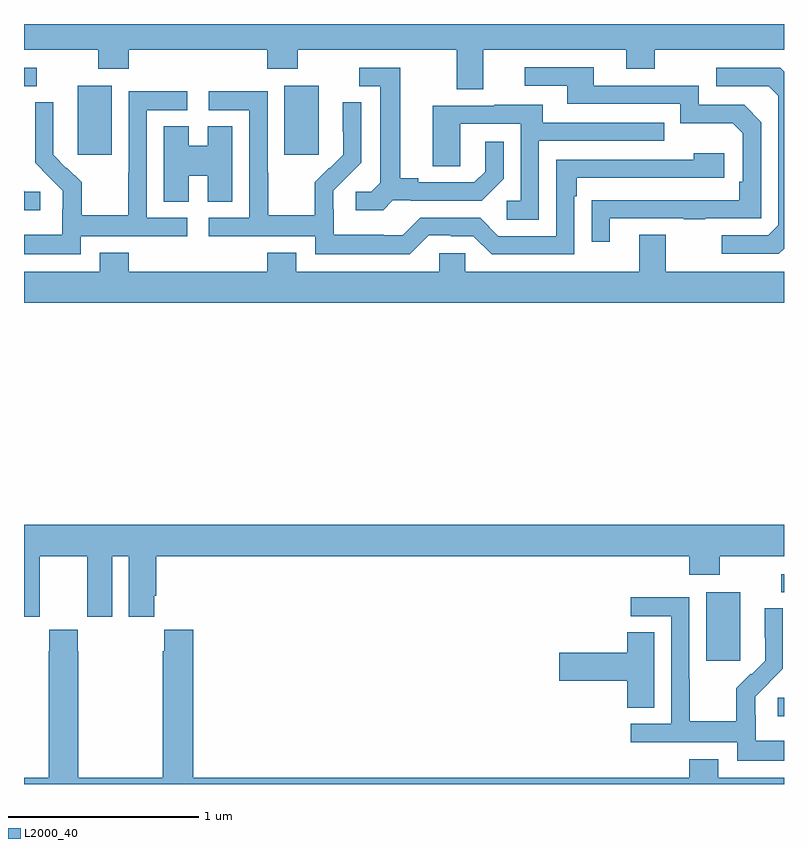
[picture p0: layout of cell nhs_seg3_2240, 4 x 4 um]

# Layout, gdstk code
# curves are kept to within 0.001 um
import gdstk
lib = gdstk.Library(unit=1e-6, precision=1e-09)
def R(c, l, rs):  # rectangles x0, y0, x1, y1
    for r in rs: c.add(gdstk.rectangle(r[:2], r[2:], *l))
def P(c, l, *ps):  # polygons
    for p in ps: c.add(gdstk.Polygon(p, *l))
L2000_40 = (2000, 40)

nhs_seg3_2240 = lib.new_cell('nhs_seg3_2240')
R(nhs_seg3_2240, L2000_40, [(230.967,682.757,231,682.854), (230.591,683.049,230.77,683.41), (230.985,683.409,231,683.505), (227.282,685.713,227.461,686.074), (228.371,685.713,228.55,686.074), (227,686.073,227.068,686.169)])
P(nhs_seg3_2240, L2000_40, [(229.417,686.264),(230.171,686.264),(230.171,686.165),(230.319,686.165),(230.319,686.264),(231,686.264),(231,686.4),(227,686.4),(227,686.264),(227.392,686.264),(227.392,686.165),(227.552,686.165),(227.552,686.264),(228.281,686.264),(228.281,686.165),(228.441,686.165),(228.441,686.264),(229.277,686.264),(229.277,686.056),(229.417,686.056)],
  [(230.083,685.377),(230.473,685.377),(230.473,685.372),(230.585,685.372),(230.585,685.377),(230.88,685.377),(230.88,685.884),(230.79,685.974),(230.55,685.974),(230.55,686.076),(229.999,686.076),(229.999,686.172),(229.635,686.172),(229.635,686.076),(229.859,686.076),(229.859,685.98),(230.454,685.98),(230.454,685.877),(230.731,685.877),(230.784,685.824),(230.784,685.57),(230.764,685.57),(230.764,685.473),(229.987,685.472),(229.987,685.254),(230.083,685.254)],
  [(231,685.218),(231,686.148),(230.979,686.169),(230.643,686.169),(230.643,686.073),(230.919,686.073),(230.97,686.022),(230.97,685.341),(230.916,685.287),(230.673,685.287),(230.673,685.191),(230.973,685.191)],
  [(228.942,685.473),(229.036,685.473),(229.036,685.47),(229.408,685.47),(229.524,685.586),(229.524,685.78),(229.427,685.78),(229.427,685.623),(229.37,685.566),(229.075,685.566),(229.075,685.589),(228.979,685.589),(228.979,686.169),(228.765,686.169),(228.765,686.073),(228.875,686.073),(228.875,685.565),(228.828,685.518),(228.747,685.518),(228.747,685.421),(228.89,685.421)],
  [(229.131,685.287),(229.247,685.287),(229.247,685.284),(229.365,685.284),(229.461,685.188),(229.896,685.188),(229.896,685.493),(229.909,685.493),(229.909,685.59),(230.686,685.59),(230.686,685.72),(230.525,685.72),(230.525,685.686),(229.8,685.686),(229.8,685.284),(229.497,685.284),(229.401,685.38),(229.086,685.38),(228.993,685.287),(228.893,685.287),(228.893,685.291),(228.63,685.291),(228.63,685.425),(228.628,685.425),(228.628,685.522),(228.774,685.67),(228.774,685.988),(228.678,685.988),(228.678,685.834),(228.68,685.834),(228.68,685.712),(228.609,685.641),(228.606,685.644),(228.529,685.567),(228.529,685.393),(228.285,685.393),(228.285,685.616),(228.282,685.616),(228.282,686.046),(227.973,686.046),(227.973,685.947),(228.186,685.947),(228.186,685.38),(227.973,685.38),(227.973,685.284),(228.534,685.284),(228.534,685.187),(229.031,685.187)],
  [(227.298,685.284),(227.86,685.284),(227.86,685.38),(227.646,685.38),(227.646,685.947),(227.86,685.947),(227.86,686.046),(227.55,686.046),(227.55,685.616),(227.548,685.616),(227.548,685.393),(227.303,685.393),(227.303,685.567),(227.226,685.644),(227.223,685.641),(227.153,685.712),(227.154,685.988),(227.058,685.988),(227.058,685.67),(227.204,685.522),(227.204,685.425),(227.202,685.425),(227.202,685.291),(227,685.291),(227,685.187),(227.298,685.187)],
  [(229.71,685.785),(230.369,685.785),(230.369,685.881),(229.729,685.881),(229.729,685.975),(229.475,685.975),(229.475,685.971),(229.151,685.971),(229.151,685.651),(229.296,685.651),(229.296,685.875),(229.614,685.875),(229.614,685.47),(229.542,685.47),(229.542,685.369),(229.71,685.369)],
  [(227.866,685.601),(227.966,685.601),(227.966,685.465),(228.097,685.465),(228.097,685.862),(227.966,685.862),(227.966,685.759),(227.866,685.759),(227.866,685.862),(227.735,685.862),(227.735,685.465),(227.866,685.465)],
  [(227.086,685.518),(227.004,685.518),(227,685.522),(227,685.421),(227.086,685.421)],
  [(231,685.096),(230.377,685.096),(230.377,685.291),(230.237,685.291),(230.237,685.096),(229.323,685.096),(229.323,685.194),(229.185,685.194),(229.185,685.096),(228.433,685.096),(228.433,685.195),(228.281,685.195),(228.281,685.096),(227.552,685.096),(227.552,685.195),(227.399,685.195),(227.399,685.096),(227,685.096),(227,684.932),(231,684.932)],
  [(227.082,683.392),(227.083,683.392),(227.083,683.6),(227.333,683.6),(227.333,683.392),(227.334,683.392),(227.334,683.28),(227.464,683.28),(227.464,683.6),(227.552,683.6),(227.552,683.28),(227.686,683.28),(227.686,683.392),(227.696,683.392),(227.696,683.6),(230.501,683.6),(230.501,683.501),(230.661,683.501),(230.661,683.6),(231,683.6),(231,683.764),(227,683.764),(227,683.28),(227.082,683.28)],
  [(231,682.627),(230.85,682.627),(230.85,682.761),(230.848,682.761),(230.848,682.858),(230.994,683.006),(230.994,683.324),(230.898,683.324),(230.898,683.17),(230.9,683.17),(230.9,683.048),(230.829,682.977),(230.826,682.98),(230.749,682.903),(230.749,682.729),(230.505,682.729),(230.505,682.952),(230.502,682.952),(230.502,683.382),(230.193,683.382),(230.193,683.283),(230.406,683.283),(230.406,682.716),(230.193,682.716),(230.193,682.62),(230.754,682.62),(230.754,682.523),(231,682.523)],
  [(231,682.432),(230.653,682.432),(230.653,682.531),(230.501,682.531),(230.501,682.432),(227.891,682.432),(227.891,683.212),(227.737,683.212),(227.737,683.099),(227.731,683.099),(227.731,682.432),(227.286,682.432),(227.286,683.099),(227.283,683.099),(227.283,683.212),(227.133,683.212),(227.133,683.099),(227.131,683.099),(227.131,682.432),(227,682.432),(227,682.4),(231,682.4)],
  [(230.317,683.198),(230.174,683.198),(230.174,683.09),(229.818,683.09),(229.818,682.943),(230.174,682.943),(230.174,682.801),(230.317,682.801)])

lib.write_gds('nhs_seg3_2240.gds')
